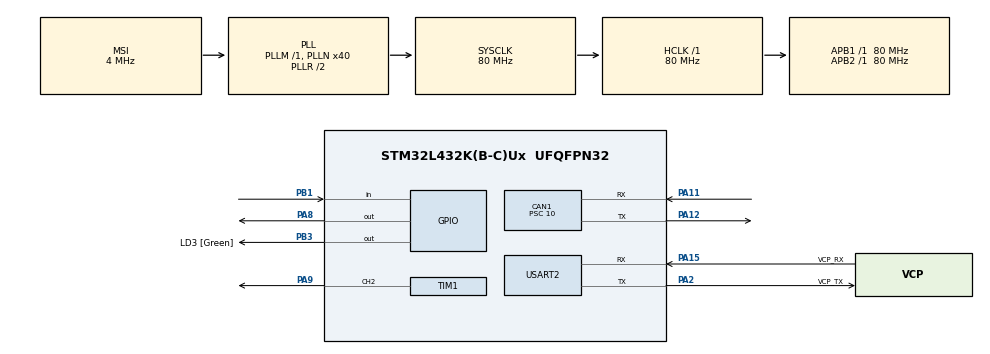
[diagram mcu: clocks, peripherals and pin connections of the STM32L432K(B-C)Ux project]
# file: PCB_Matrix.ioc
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CAN1.BS1=CAN_BS1_13TQ
CAN1.BS2=CAN_BS2_2TQ
CAN1.CalculateBaudRate=500000
CAN1.CalculateTimeBit=2000
CAN1.CalculateTimeQuantum=125.0
CAN1.Prescaler=10
Mcu.Family=STM32L4
Mcu.Name=STM32L432K(B-C)Ux
Mcu.Package=UFQFPN32
NVIC.CAN1_RX0_IRQn=true\:0\:0\:false\:false\:true\:true\:true\:true
NVIC.CAN1_RX1_IRQn=true\:0\:0\:false\:false\:true\:true\:true\:true
NVIC.PriorityGroup=NVIC_PRIORITYGROUP_4
PA0.GPIO_Label=MCO [High speed clock in]
PA0.Mode=HSE-External-Clock-Source-for-LittleOrca
PA0.Signal=RCC_CK_IN
PA11.GPIO_PuPd=GPIO_PULLUP
PA11.Mode=CAN_Activate
PA11.Signal=CAN1_RX
PA12.Mode=CAN_Activate
PA12.Signal=CAN1_TX
PA13\ (JTMS-SWDIO).GPIO_Label=SWDIO
PA13\ (JTMS-SWDIO).Mode=Serial_Wire
PA13\ (JTMS-SWDIO).Signal=SYS_JTMS-SWDIO
PA14\ (JTCK-SWCLK).GPIO_Label=SWCLK
PA14\ (JTCK-SWCLK).Mode=Serial_Wire
PA14\ (JTCK-SWCLK).Signal=SYS_JTCK-SWCLK
PA15\ (JTDI).GPIO_Label=VCP_RX
PA15\ (JTDI).Mode=Asynchronous
PA15\ (JTDI).Signal=USART2_RX
PA2.GPIO_Label=VCP_TX
PA2.Mode=Asynchronous
PA2.Signal=USART2_TX
PA8.Signal=GPIO_Output
PA9.Signal=S_TIM1_CH2
PB0.Signal=TIM1_CH2N
PB1.Signal=GPIO_Input
PB3\ (JTDO-TRACESWO).GPIO_Label=LD3 [Green]
PB3\ (JTDO-TRACESWO).Signal=GPIO_Output
PC14-OSC32_IN\ (PC14).Mode=LSE-External-Oscillator
PC14-OSC32_IN\ (PC14).Signal=RCC_OSC32_IN
PC15-OSC32_OUT\ (PC15).Mode=LSE-External-Oscillator
PC15-OSC32_OUT\ (PC15).Signal=RCC_OSC32_OUT
ProjectManager.HeapSize=0x200
ProjectManager.StackSize=0x400
ProjectManager.TargetToolchain=STM32CubeIDE
RCC.AHBFreq_Value=80000000
RCC.APB1Freq_Value=80000000
RCC.APB1TimFreq_Value=80000000
RCC.APB2Freq_Value=80000000
RCC.APB2TimFreq_Value=80000000
RCC.CortexFreq_Value=80000000
RCC.HCLKFreq_Value=80000000
RCC.HSE_VALUE=8000000
RCC.HSI16_VALUE=16000000
RCC.HSI48_VALUE=48000000
RCC.HSI_VALUE=16000000
RCC.MSI_VALUE=4000000
RCC.PLLMUL=RCC_PLLMUL_4
RCC.PLLN=40
RCC.SYSCLKFreq_VALUE=80000000
RCC.SYSCLKSource=RCC_SYSCLKSOURCE_PLLCLK
RCC.VCOOutputFreq_Value=160000000
SH.S_TIM1_CH2.0=TIM1_CH2,PWM Generation2 CH2
TIM1.Channel-PWM\ Generation2\ CH2=TIM_CHANNEL_2
USART2.VirtualMode-Asynchronous=VM_ASYNC
board=NUCLEO-L432KC

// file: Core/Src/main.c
/* USER CODE BEGIN Header */
/**
  ******************************************************************************
  * @file           : main.c
  * @brief          : Main program body
  ******************************************************************************
  * @attention
  *
  * Copyright (c) 2026 STMicroelectronics.
  * All rights reserved.
  *
  * This software is licensed under terms that can be found in the LICENSE file
  * in the root directory of this software component.
  * If no LICENSE file comes with this software, it is provided AS-IS.
  *
  ******************************************************************************
  */
/* USER CODE END Header */
#include "main.h"

/* USER CODE BEGIN Includes */

#include <stdio.h>
#include <string.h>
//#include "usart.h"              // << REQUIRED
#include "stm32l4xx_hal.h"      // << recommended

/* USER CODE END Includes */

/* USER CODE BEGIN PD */
#define NODE_PI         0x01
#define NODE_MC_encoder	0x02
#define MY_NODE_ID 	    0x03
#define NODE_MC_boven   0x04
#define NODE_MC_onder   0x05
#define NODE_BROADCAST  0xFF

#define TEST_MSG		0x00
#define READ_DISTANCE   0x12
#define READ_ACCESS 0x70

#define MATRIX_LED_ON	0x50
#define MATRIX_LED_OFF	0x51

#define CAN_ID_BRAND_ALARM 0x10
/* USER CODE END PD */

CAN_HandleTypeDef hcan1;

TIM_HandleTypeDef htim1;

UART_HandleTypeDef huart2;

/* USER CODE BEGIN PV */
CAN_TxHeaderTypeDef TxHeader;
CAN_RxHeaderTypeDef RxHeader;
uint8_t TxData[8];
uint8_t RxData[8];
uint32_t TxMailbox;

volatile uint8_t last_source = 0;
volatile uint8_t brandActief = 0;

//Keypad global variables

volatile uint8_t LedAan1 = 0;
volatile uint8_t LedAan2 = 0;

char keypadBuffer[3] = {0};   // 2 chars + null terminator
uint8_t keypadIndex = 0;

/* USER CODE END PV */

void SystemClock_Config(void);
static void MX_GPIO_Init(void);
static void MX_CAN1_Init(void);
static void MX_USART2_UART_Init(void);
static void MX_TIM1_Init(void);
/* USER CODE BEGIN PFP */
void matrixLedOn(void);
void matrixLedOff(void);
char ReadKeypad(void);
void TestLedActions(void);

/* USER CODE END PFP */

int main(void)
{

  /* MCU Configuration--------------------------------------------------------*/

  /* Reset of all peripherals, Initializes the Flash interface and the Systick. */
  HAL_Init();

  /* Configure the system clock */
  SystemClock_Config();

  /* Initialize all configured peripherals */
  MX_GPIO_Init();
  MX_CAN1_Init();
  MX_USART2_UART_Init();
  MX_TIM1_Init();
  /* USER CODE BEGIN 2 */
  CAN_FilterTypeDef  sFilterConfig;

  //HAL_TIM_PWM_Start(&htim1, TIM_CHANNEL_2);
  //HAL_TIMEx_PWMN_Start(&htim1, TIM_CHANNEL_2); //Voor het starten van de PWM, wat niet meer standaard is.

    // Configure Filter: Accept ALL messages (Mask 0)
    sFilterConfig.FilterBank = 0;
    sFilterConfig.FilterMode = CAN_FILTERMODE_IDMASK;
    sFilterConfig.FilterScale = CAN_FILTERSCALE_32BIT;
    sFilterConfig.FilterIdHigh = 0x0000;
    sFilterConfig.FilterIdLow = 0x0000;
    sFilterConfig.FilterMaskIdHigh = 0x0000;
    sFilterConfig.FilterMaskIdLow = 0x0000;
    sFilterConfig.FilterFIFOAssignment = CAN_RX_FIFO0;
    sFilterConfig.FilterActivation = ENABLE;
    sFilterConfig.SlaveStartFilterBank = 14;

    if (HAL_CAN_ConfigFilter(&hcan1, &sFilterConfig) != HAL_OK) {
  	  Error_Handler();
    }

    // Start the CAN peripheral
    if (HAL_CAN_Start(&hcan1) != HAL_OK) {
  	  Error_Handler();
    }

    // Activate the Notification (Interrupt) for incoming messages
    if (HAL_CAN_ActivateNotification(&hcan1, CAN_IT_RX_FIFO0_MSG_PENDING) != HAL_OK) {
  	  Error_Handler();
    }

    // Prepare the Transmit Header (The Envelope)
    TxHeader.StdId = 0x103;
    TxHeader.ExtId = 0x00;
    TxHeader.IDE = CAN_ID_STD;
    TxHeader.RTR = CAN_RTR_DATA;
    TxHeader.DLC = 8;
    TxHeader.TransmitGlobalTime = DISABLE;

    char buffer[50];
    sprintf(buffer, "Hoera het runt! \r\n");
    HAL_UART_Transmit(&huart2, (uint8_t*)buffer, strlen(buffer), 100);
  /* USER CODE END 2 */

  /* Infinite loop */
    while (1)
    {

     /* USER CODE BEGIN 3 */
     if (brandActief)
    	 HAL_TIMEx_PWMN_Start(&htim1, TIM_CHANNEL_2); //Zet dan de buzzer aan.
     else
    	 HAL_TIMEx_PWMN_Stop(&htim1, TIM_CHANNEL_2); //Als er geen brand actief is, staat de buzzer uit.
    }
  /* USER CODE END 3 */
}

void SystemClock_Config(void)
{
  RCC_OscInitTypeDef RCC_OscInitStruct = {0};
  RCC_ClkInitTypeDef RCC_ClkInitStruct = {0};

  /** Configure the main internal regulator output voltage
  */
  if (HAL_PWREx_ControlVoltageScaling(PWR_REGULATOR_VOLTAGE_SCALE1) != HAL_OK)
  {
    Error_Handler();
  }

  /** Configure LSE Drive Capability
  */
  HAL_PWR_EnableBkUpAccess();
  __HAL_RCC_LSEDRIVE_CONFIG(RCC_LSEDRIVE_LOW);

  /** Initializes the RCC Oscillators according to the specified parameters
  * in the RCC_OscInitTypeDef structure.
  */
  RCC_OscInitStruct.OscillatorType = RCC_OSCILLATORTYPE_LSE|RCC_OSCILLATORTYPE_MSI;
  RCC_OscInitStruct.LSEState = RCC_LSE_ON;
  RCC_OscInitStruct.MSIState = RCC_MSI_ON;
  RCC_OscInitStruct.MSICalibrationValue = 0;
  RCC_OscInitStruct.MSIClockRange = RCC_MSIRANGE_6;
  RCC_OscInitStruct.PLL.PLLState = RCC_PLL_ON;
  RCC_OscInitStruct.PLL.PLLSource = RCC_PLLSOURCE_MSI;
  RCC_OscInitStruct.PLL.PLLM = 1;
  RCC_OscInitStruct.PLL.PLLN = 40;
  RCC_OscInitStruct.PLL.PLLP = RCC_PLLP_DIV7;
  RCC_OscInitStruct.PLL.PLLQ = RCC_PLLQ_DIV2;
  RCC_OscInitStruct.PLL.PLLR = RCC_PLLR_DIV2;
  if (HAL_RCC_OscConfig(&RCC_OscInitStruct) != HAL_OK)
  {
    Error_Handler();
  }

  /** Initializes the CPU, AHB and APB buses clocks
  */
  RCC_ClkInitStruct.ClockType = RCC_CLOCKTYPE_HCLK|RCC_CLOCKTYPE_SYSCLK
                              |RCC_CLOCKTYPE_PCLK1|RCC_CLOCKTYPE_PCLK2;
  RCC_ClkInitStruct.SYSCLKSource = RCC_SYSCLKSOURCE_PLLCLK;
  RCC_ClkInitStruct.AHBCLKDivider = RCC_SYSCLK_DIV1;
  RCC_ClkInitStruct.APB1CLKDivider = RCC_HCLK_DIV1;
  RCC_ClkInitStruct.APB2CLKDivider = RCC_HCLK_DIV1;

  if (HAL_RCC_ClockConfig(&RCC_ClkInitStruct, FLASH_LATENCY_4) != HAL_OK)
  {
    Error_Handler();
  }

  /** Enable MSI Auto calibration
  */
  HAL_RCCEx_EnableMSIPLLMode();
}

static void MX_CAN1_Init(void)
{

  hcan1.Instance = CAN1;
  hcan1.Init.Prescaler = 10;
  hcan1.Init.Mode = CAN_MODE_NORMAL;
  hcan1.Init.SyncJumpWidth = CAN_SJW_1TQ;
  hcan1.Init.TimeSeg1 = CAN_BS1_13TQ;
  hcan1.Init.TimeSeg2 = CAN_BS2_2TQ;
  hcan1.Init.TimeTriggeredMode = DISABLE;
  hcan1.Init.AutoBusOff = DISABLE;
  hcan1.Init.AutoWakeUp = DISABLE;
  hcan1.Init.AutoRetransmission = DISABLE;
  hcan1.Init.ReceiveFifoLocked = DISABLE;
  hcan1.Init.TransmitFifoPriority = DISABLE;
  if (HAL_CAN_Init(&hcan1) != HAL_OK)
  {
    Error_Handler();
  }

}

static void MX_TIM1_Init(void)
{

  TIM_MasterConfigTypeDef sMasterConfig = {0};
  TIM_OC_InitTypeDef sConfigOC = {0};
  TIM_BreakDeadTimeConfigTypeDef sBreakDeadTimeConfig = {0};

  htim1.Instance = TIM1;
  htim1.Init.Prescaler = 80-1; //Systeemklok / Prescaler = 1MHz.
  htim1.Init.CounterMode = TIM_COUNTERMODE_UP;
  htim1.Init.Period = 500-1; //1MHZ / 500 = 2Khz, resulteert in een goed hoorbaar geluid.
  htim1.Init.ClockDivision = TIM_CLOCKDIVISION_DIV1;
  htim1.Init.RepetitionCounter = 0;
  htim1.Init.AutoReloadPreload = TIM_AUTORELOAD_PRELOAD_DISABLE;
  if (HAL_TIM_PWM_Init(&htim1) != HAL_OK)
  {
    Error_Handler();
  }
  sMasterConfig.MasterOutputTrigger = TIM_TRGO_RESET;
  sMasterConfig.MasterOutputTrigger2 = TIM_TRGO2_RESET;
  sMasterConfig.MasterSlaveMode = TIM_MASTERSLAVEMODE_DISABLE;
  if (HAL_TIMEx_MasterConfigSynchronization(&htim1, &sMasterConfig) != HAL_OK)
  {
    Error_Handler();
  }
  sConfigOC.OCMode = TIM_OCMODE_PWM1;
  sConfigOC.Pulse = 250; //= 50% Duty cycle. Er is een wisselend signaal nodig voor de buzzer om geluid te maken.
  sConfigOC.OCPolarity = TIM_OCPOLARITY_HIGH;
  sConfigOC.OCNPolarity = TIM_OCNPOLARITY_HIGH;
  sConfigOC.OCFastMode = TIM_OCFAST_DISABLE;
  sConfigOC.OCIdleState = TIM_OCIDLESTATE_RESET;
  sConfigOC.OCNIdleState = TIM_OCNIDLESTATE_RESET;
  if (HAL_TIM_PWM_ConfigChannel(&htim1, &sConfigOC, TIM_CHANNEL_2) != HAL_OK)
  {
    Error_Handler();
  }
  sBreakDeadTimeConfig.OffStateRunMode = TIM_OSSR_DISABLE;
  sBreakDeadTimeConfig.OffStateIDLEMode = TIM_OSSI_DISABLE;
  sBreakDeadTimeConfig.LockLevel = TIM_LOCKLEVEL_OFF;
  sBreakDeadTimeConfig.DeadTime = 0;
  sBreakDeadTimeConfig.BreakState = TIM_BREAK_DISABLE;
  sBreakDeadTimeConfig.BreakPolarity = TIM_BREAKPOLARITY_HIGH;
  sBreakDeadTimeConfig.BreakFilter = 0;
  sBreakDeadTimeConfig.Break2State = TIM_BREAK2_DISABLE;
  sBreakDeadTimeConfig.Break2Polarity = TIM_BREAK2POLARITY_HIGH;
  sBreakDeadTimeConfig.Break2Filter = 0;
  sBreakDeadTimeConfig.AutomaticOutput = TIM_AUTOMATICOUTPUT_DISABLE;
  if (HAL_TIMEx_ConfigBreakDeadTime(&htim1, &sBreakDeadTimeConfig) != HAL_OK)
  {
    Error_Handler();
  }
  HAL_TIM_MspPostInit(&htim1);

}

static void MX_USART2_UART_Init(void)
{

  huart2.Instance = USART2;
  huart2.Init.BaudRate = 115200;
  huart2.Init.WordLength = UART_WORDLENGTH_8B;
  huart2.Init.StopBits = UART_STOPBITS_1;
  huart2.Init.Parity = UART_PARITY_NONE;
  huart2.Init.Mode = UART_MODE_TX_RX;
  huart2.Init.HwFlowCtl = UART_HWCONTROL_NONE;
  huart2.Init.OverSampling = UART_OVERSAMPLING_16;
  huart2.Init.OneBitSampling = UART_ONE_BIT_SAMPLE_DISABLE;
  huart2.AdvancedInit.AdvFeatureInit = UART_ADVFEATURE_NO_INIT;
  if (HAL_UART_Init(&huart2) != HAL_OK)
  {
    Error_Handler();
  }

}

static void MX_GPIO_Init(void)
{
  GPIO_InitTypeDef GPIO_InitStruct = {0};

  /* GPIO Ports Clock Enable */
  __HAL_RCC_GPIOC_CLK_ENABLE();
  __HAL_RCC_GPIOA_CLK_ENABLE();
  __HAL_RCC_GPIOB_CLK_ENABLE();

  /*Configure GPIO pin Output Level */
  HAL_GPIO_WritePin(GPIOA, GPIO_PIN_8, GPIO_PIN_RESET);

  /*Configure GPIO pin Output Level */
  HAL_GPIO_WritePin(LD3_GPIO_Port, LD3_Pin, GPIO_PIN_RESET);

  /*Configure GPIO pin : PB1 */
  GPIO_InitStruct.Pin = GPIO_PIN_1;
  GPIO_InitStruct.Mode = GPIO_MODE_INPUT;
  GPIO_InitStruct.Pull = GPIO_NOPULL;
  HAL_GPIO_Init(GPIOB, &GPIO_InitStruct);

  /*Configure GPIO pin : PA8 */
  GPIO_InitStruct.Pin = GPIO_PIN_8;
  GPIO_InitStruct.Mode = GPIO_MODE_OUTPUT_PP;
  GPIO_InitStruct.Pull = GPIO_NOPULL;
  GPIO_InitStruct.Speed = GPIO_SPEED_FREQ_LOW;
  HAL_GPIO_Init(GPIOA, &GPIO_InitStruct);

  /*Configure GPIO pin : LD3_Pin */
  GPIO_InitStruct.Pin = LD3_Pin;
  GPIO_InitStruct.Mode = GPIO_MODE_OUTPUT_PP;
  GPIO_InitStruct.Pull = GPIO_NOPULL;
  GPIO_InitStruct.Speed = GPIO_SPEED_FREQ_LOW;
  HAL_GPIO_Init(LD3_GPIO_Port, &GPIO_InitStruct);

}

/* USER CODE BEGIN 4 */
/**
 * @brief Inkomende CAN berichten verwerken en afhandelen voor het brandalarm, dat prioriteit krijgt, en de LED op de matrix.
 *
 * @param hcan
 */
void HAL_CAN_RxFifo0MsgPendingCallback(CAN_HandleTypeDef *hcan) {
	if (HAL_CAN_GetRxMessage(hcan, CAN_RX_FIFO0, &RxHeader, RxData) == HAL_OK)
	{
		//Brand dient als eerste gecheckt te worden als prioriteitbericht boven alles.
		// Als het bericht overeenkomt met het brandalarm ID & het 1 byte bevat (0 of 1).
		if (RxHeader.StdId == CAN_ID_BRAND_ALARM && RxHeader.DLC == 1)
		{
			if (RxData[0] == 0x01)
				brandActief = 1; //Brand wordt als actief gezet als dit doorgegeven is in het bericht.
			else if (RxData[0] == 0x00)
				brandActief = 0; //Brand wordt weer uitgezet als dit doorgegeven is in het bericht.

			return; //Er hoeft niet meer verder gegaan in de functie als dit het bericht was.
		}

		char uart_buf[100];
		int len;

		uint8_t target = RxData[0];
		uint8_t source = RxData[1];
		uint8_t cmd    = RxData[2];

		if (target != MY_NODE_ID && target != NODE_BROADCAST){
			return;
		}

		switch(cmd){
		case MATRIX_LED_ON:
			last_source = source;
			matrixLedOn();
			break;

		case MATRIX_LED_OFF:
			last_source = source;
			matrixLedOff();
			break;
		}
	}
}

/**
 * @brief Zet de LED matrix on en verzendt een 8 byte CAN bevestigingsbericht naar de oorspronkelijke verzender.
 *
 */
void matrixLedOn(){
	HAL_GPIO_WritePin(GPIOA, GPIO_PIN_8, 1);

	TxHeader.DLC = 8;
	TxData[0] = last_source;
	TxData[1] = MY_NODE_ID;
	TxData[2] = 0x00;
	TxData[3] = 0xFF;
	TxData[4] = 0x00;
	TxData[5] = 0x00;
	TxData[6] = 0x00;
	TxData[7] = 0x00;

	HAL_CAN_AddTxMessage(&hcan1, &TxHeader, TxData, &TxMailbox);
}

/**
 * @brief De matrix LED weer uitzetten door een nul te schrijven naar de pin die hiervoor is ingesteld.
 *
 */
void matrixLedOff(){
	HAL_GPIO_WritePin(GPIOA, GPIO_PIN_8, 0);
}
/* USER CODE END 4 */

void Error_Handler(void)
{
  __disable_irq();
  while (1)
  {
  }
}
